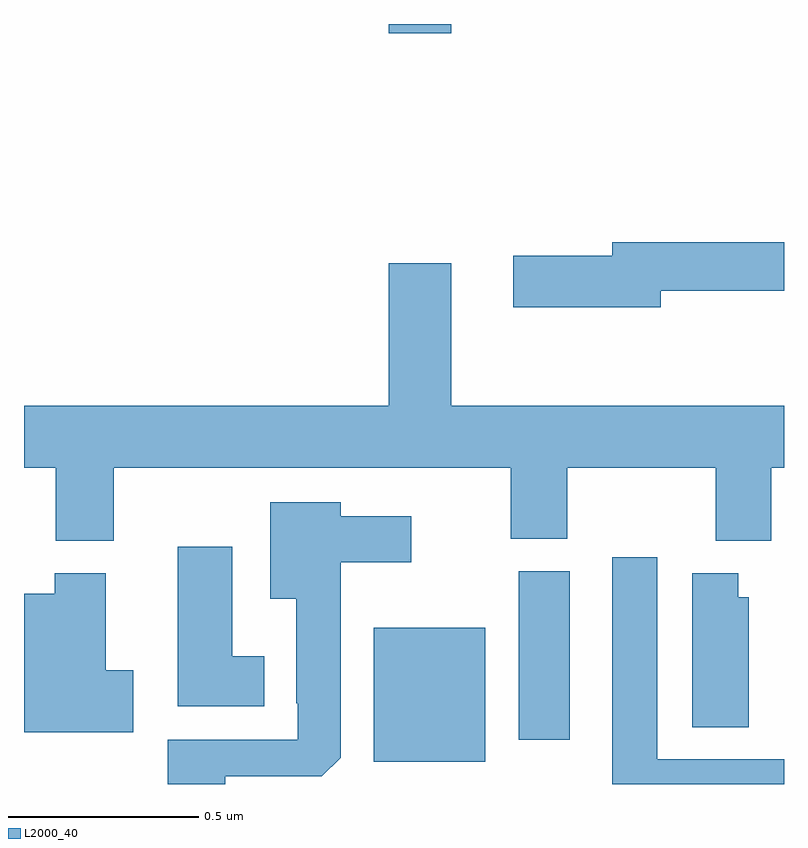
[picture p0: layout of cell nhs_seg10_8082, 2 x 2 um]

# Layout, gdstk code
import gdstk
lib = gdstk.Library(unit=1e-6, precision=1e-09)
def R(c, l, rs):  # rectangles x0, y0, x1, y1
    for r in rs: c.add(gdstk.rectangle(r[:2], r[2:], *l))
def P(c, l, *ps):  # polygons
    for p in ps: c.add(gdstk.Polygon(p, *l))
L2000_40 = (2000, 40)

nhs_seg10_8082 = lib.new_cell('nhs_seg10_8082')
R(nhs_seg10_8082, L2000_40, [(212.921,1283.558,213.214,1283.911), (213.302,1283.616,213.436,1284.06), (212.96,1285.476,213.124,1285.5)])
P(nhs_seg10_8082, L2000_40, [(213.676,1284.798),(214,1284.798),(214,1284.926),(213.548,1284.926),(213.548,1284.89),(213.288,1284.89),(213.288,1284.755),(213.676,1284.755)],
  [(212.236,1284.332),(213.281,1284.332),(213.281,1284.145),(213.429,1284.145),(213.429,1284.332),(213.82,1284.332),(213.82,1284.14),(213.967,1284.14),(213.967,1284.332),(214,1284.332),(214,1284.496),(213.124,1284.496),(213.124,1284.871),(212.96,1284.871),(212.96,1284.496),(212,1284.496),(212,1284.332),(212.084,1284.332),(212.084,1284.14),(212.236,1284.14)],
  [(212.53,1283.52),(212.784,1283.52),(212.833,1283.569),(212.833,1284.083),(213.019,1284.083),(213.019,1284.205),(212.833,1284.205),(212.833,1284.241),(212.648,1284.241),(212.648,1283.987),(212.717,1283.987),(212.717,1283.713),(212.721,1283.713),(212.721,1283.616),(212.378,1283.616),(212.378,1283.5),(212.53,1283.5)],
  [(212.632,1283.836),(212.548,1283.836),(212.548,1284.124),(212.405,1284.124),(212.405,1283.705),(212.632,1283.705)],
  [(214,1283.565),(213.667,1283.565),(213.667,1284.097),(213.548,1284.097),(213.548,1283.5),(214,1283.5)],
  [(212.287,1283.799),(212.215,1283.799),(212.215,1284.055),(212.081,1284.055),(212.081,1284.001),(212,1284.001),(212,1283.636),(212.287,1283.636)],
  [(213.907,1283.991),(213.88,1283.991),(213.88,1284.055),(213.758,1284.055),(213.758,1283.65),(213.907,1283.65)])

lib.write_gds('nhs_seg10_8082.gds')
